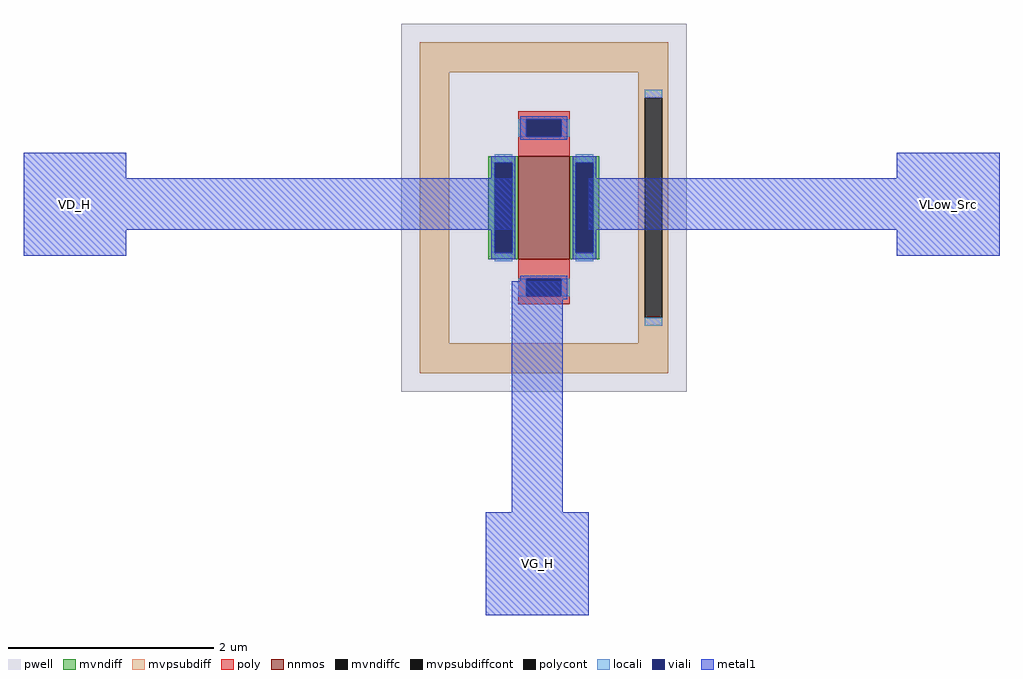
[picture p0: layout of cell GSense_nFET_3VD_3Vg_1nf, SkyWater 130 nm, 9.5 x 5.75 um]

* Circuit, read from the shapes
.subckt GSense_nFET_3VD_3Vg_1nf VD_H VG_H VLow_Src
XM1 VLow_Src VG_H VD_H VSUBS sky130_fd_pr__nfet_03v3_nvt w=1 l=0.5
.ends

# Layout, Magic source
magic
tech sky130A
magscale 1 2
<< metal1 >>
rect -800 -450 -600 -400
rect 900 -450 1100 -400
rect -800 -550 150 -450
rect 300 -550 1100 -450
rect -800 -600 -600 -550
rect 900 -600 1100 -550
rect 150 -1100 250 -650
rect 100 -1300 300 -1100
use sky130_fd_pr__nfet_03v3_nvt_EJ4KLV  XM1
transform 1 0 213 0 1 -507
box -278 -358 278 358
<< labels >>
flabel metal1 -800 -600 -600 -400 0 FreeSans 160 0 0 0 VD_H
port 0 nsew
flabel metal1 900 -600 1100 -400 0 FreeSans 160 0 0 0 VLow_Src
port 2 nsew
flabel metal1 100 -1300 300 -1100 0 FreeSans 160 0 0 0 VG_H
port 1 nsew
<< end >>

# cell sky130_fd_pr__nfet_03v3_nvt_EJ4KLV: kit device sky130_fd_pr__nfet_03v3_nvt, w 1.0 l 0.5 m 1 nf 1 diffcov 100 polycov 100 guard 1 glc 0 grc 1 gtc 0 gbc 0 tbcov 100 rlcov 100 topc 1 botc 1 poverlap 0 doverlap 1 lmin 0.50 wmin 0.42 compatible {sky130_fd_pr__nfet_01v8 sky130_fd_pr__nfet_01v8_lvt sky130_fd_bs_flash__special_sonosfet_star sky130_fd_pr__nfet_g5v0d10v5 sky130_fd_pr__nfet_05v0_nvt sky130_fd_pr__nfet_03v3_nvt} full_metal 0 viasrc 100 viadrn 100 viagate 100 viagb 0 viagr 0 viagl 0 viagt 0
